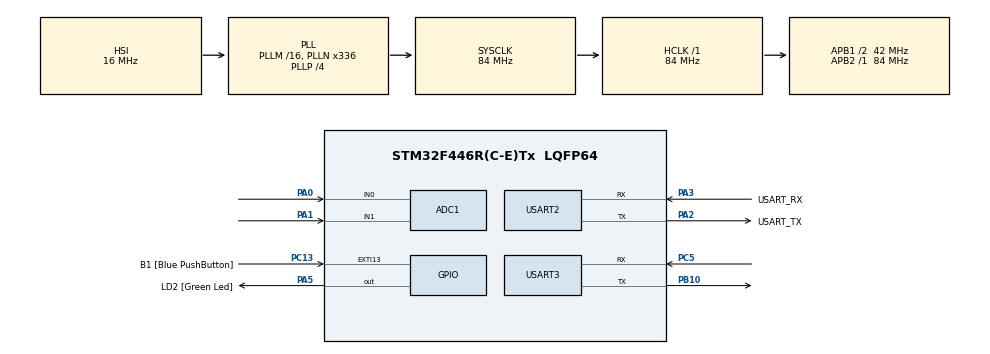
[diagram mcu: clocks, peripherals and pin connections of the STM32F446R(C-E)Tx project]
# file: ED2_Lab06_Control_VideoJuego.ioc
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ADC1.Channel-0\#ChannelRegularConversion=ADC_CHANNEL_0
ADC1.Channel-1\#ChannelRegularConversion=ADC_CHANNEL_1
ADC1.ContinuousConvMode=ENABLE
ADC1.DMAContinuousRequests=ENABLE
ADC1.NbrOfConversion=2
ADC1.NbrOfConversionFlag=1
ADC1.Rank-0\#ChannelRegularConversion=1
ADC1.Rank-1\#ChannelRegularConversion=2
ADC1.SamplingTime-0\#ChannelRegularConversion=ADC_SAMPLETIME_28CYCLES
ADC1.SamplingTime-1\#ChannelRegularConversion=ADC_SAMPLETIME_28CYCLES
ADC1.ScanConvMode=ENABLE
ADC1.master=1
Dma.ADC1.0.Direction=DMA_PERIPH_TO_MEMORY
Dma.ADC1.0.FIFOMode=DMA_FIFOMODE_DISABLE
Dma.ADC1.0.Instance=DMA2_Stream0
Dma.ADC1.0.MemDataAlignment=DMA_MDATAALIGN_HALFWORD
Dma.ADC1.0.MemInc=DMA_MINC_ENABLE
Dma.ADC1.0.Mode=DMA_CIRCULAR
Dma.ADC1.0.PeriphDataAlignment=DMA_PDATAALIGN_HALFWORD
Dma.ADC1.0.PeriphInc=DMA_PINC_DISABLE
Dma.ADC1.0.Priority=DMA_PRIORITY_LOW
Dma.Request0=ADC1
Mcu.Family=STM32F4
Mcu.Name=STM32F446R(C-E)Tx
Mcu.Package=LQFP64
NVIC.DMA2_Stream0_IRQn=true\:0\:0\:false\:false\:true\:false\:true\:true
NVIC.PriorityGroup=NVIC_PRIORITYGROUP_0
NVIC.USART3_IRQn=true\:0\:0\:false\:false\:true\:true\:true\:true
PA0-WKUP.Signal=ADCx_IN0
PA1.Signal=ADCx_IN1
PA13.GPIO_Label=TMS
PA13.Mode=Serial_Wire
PA13.Signal=SYS_JTMS-SWDIO
PA14.GPIO_Label=TCK
PA14.Mode=Serial_Wire
PA14.Signal=SYS_JTCK-SWCLK
PA2.GPIO_Label=USART_TX
PA2.Mode=Asynchronous
PA2.Signal=USART2_TX
PA3.GPIO_Label=USART_RX
PA3.Mode=Asynchronous
PA3.Signal=USART2_RX
PA5.GPIO_Label=LD2 [Green Led]
PA5.Signal=GPIO_Output
PB10.Mode=Asynchronous
PB10.Signal=USART3_TX
PB3.GPIO_Label=SWO
PB3.Signal=SYS_JTDO-SWO
PC13.GPIO_Label=B1 [Blue PushButton]
PC13.GPIO_ModeDefaultEXTI=GPIO_MODE_IT_FALLING
PC13.Signal=GPXTI13
PC14-OSC32_IN.Mode=LSE-External-Oscillator
PC14-OSC32_IN.Signal=RCC_OSC32_IN
PC15-OSC32_OUT.Mode=LSE-External-Oscillator
PC15-OSC32_OUT.Signal=RCC_OSC32_OUT
PC5.Mode=Asynchronous
PC5.Signal=USART3_RX
PH0-OSC_IN.Mode=HSE-External-Oscillator
PH0-OSC_IN.Signal=RCC_OSC_IN
PH1-OSC_OUT.Mode=HSE-External-Oscillator
PH1-OSC_OUT.Signal=RCC_OSC_OUT
ProjectManager.HeapSize=0x200
ProjectManager.StackSize=0x400
ProjectManager.TargetToolchain=STM32CubeIDE
RCC.48MHZClocksFreq_Value=84000000
RCC.AHBFreq_Value=84000000
RCC.APB1CLKDivider=RCC_HCLK_DIV2
RCC.APB1Freq_Value=42000000
RCC.APB1TimFreq_Value=84000000
RCC.APB2Freq_Value=84000000
RCC.APB2TimFreq_Value=84000000
RCC.CortexFreq_Value=84000000
RCC.FLatency-AdvancedSettings=FLASH_LATENCY_2
RCC.HCLKFreq_Value=84000000
RCC.HSE_VALUE=8000000
RCC.HSI_VALUE=16000000
RCC.PLLN=336
RCC.PLLP=RCC_PLLP_DIV4
RCC.SYSCLKFreq_VALUE=84000000
RCC.SYSCLKSource=RCC_SYSCLKSOURCE_PLLCLK
RCC.USBFreq_Value=168000000
RCC.VCOOutputFreq_Value=336000000
SH.ADCx_IN0.0=ADC1_IN0,IN0
SH.ADCx_IN1.0=ADC1_IN1,IN1
USART2.VirtualMode=VM_ASYNC
USART3.VirtualMode=VM_ASYNC
board=NUCLEO-F446RE

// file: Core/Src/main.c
/* USER CODE BEGIN Header */
/**
  ******************************************************************************
  * @file           : main.c
  * @brief          : Main program body
  ******************************************************************************
  * @attention
  *
  * Copyright (c) 2026 STMicroelectronics.
  * All rights reserved.
  *
  * This software is licensed under terms that can be found in the LICENSE file
  * in the root directory of this software component.
  * If no LICENSE file comes with this software, it is provided AS-IS.
  *
  * Laboratorio 6 - Control de Video Juego
  *
  * Autor: David Carranza
  * Carnet: 23979
  *
  ******************************************************************************
  */
/* USER CODE END Header */
#include "main.h"

/* USER CODE BEGIN Includes */
#include <stdio.h>
#include <string.h>
/* USER CODE END Includes */

ADC_HandleTypeDef hadc1;
DMA_HandleTypeDef hdma_adc1;

UART_HandleTypeDef huart2;
UART_HandleTypeDef huart3;

/* USER CODE BEGIN PV */

// Variables para Control 1
uint16_t valorEjeY = 0;
uint16_t valorEjeX = 0;

// Variables para control 2
uint8_t rx_byte;		// Almacena el caracter recibido del arduino
volatile uint8_t rx_data; // Guardar el dato para procesarlo
volatile uint8_t nueva_accion_atmega = 0; // Bandera de interrupción

// Buffer para la terminal UART2
char msg_terminal[80];	// Buffer para enviar mensajes al monitor
/* USER CODE END PV */

void SystemClock_Config(void);
static void MX_GPIO_Init(void);
static void MX_DMA_Init(void);
static void MX_ADC1_Init(void);
static void MX_USART2_UART_Init(void);
static void MX_USART3_UART_Init(void);

int main(void)
{

  /* MCU Configuration--------------------------------------------------------*/

  /* Reset of all peripherals, Initializes the Flash interface and the Systick. */
  HAL_Init();

  /* Configure the system clock */
  SystemClock_Config();

  /* Initialize all configured peripherals */
  MX_GPIO_Init();
  MX_DMA_Init();
  MX_ADC1_Init();
  MX_USART2_UART_Init();
  MX_USART3_UART_Init();
  /* USER CODE BEGIN 2 */

  // Iniciar el ADC en modo DMA para uso de los 2 canales
//  HAL_ADC_Start_DMA(&hadc1, (uint32_t*)adc_buffer, 2);

  // Iniciar la recepción de datos por interrupción del USART3
  HAL_UART_Receive_IT(&huart3, &rx_byte, 1);

  /* USER CODE END 2 */

  /* Infinite loop */
  /* USER CODE BEGIN WHILE */
  while (1)
  {
	  // Lógica Control 2
	  if (nueva_accion_atmega == 1)
	  {
		nueva_accion_atmega = 0; // Bajar bandera

		// Formato control
		switch(rx_data)
		{
		case 'U': sprintf(msg_terminal, "Control 2 (ATmega): \"Arriba\"\r\n");
		break;
		case 'D': sprintf(msg_terminal, "Control 2 (ATmega): \"Abajo\"\r\n");
		break;
		case 'L': sprintf(msg_terminal, "Control 2 (ATmega): \"Izquierda\"\r\n");
		break;
		case 'R': sprintf(msg_terminal, "Control 2 (ATmega): \"Derecha\"\r\n");
		break;
		case 'A': sprintf(msg_terminal, "Control 2 (ATmega): \"A\"\r\n");
		break;
		case 'B': sprintf(msg_terminal, "Control 2 (ATmega): \"B\"\r\n");
		break;
		default: msg_terminal[0] = '\0';
		break;
		}

		if (msg_terminal[0] != '\0')
		{
			HAL_UART_Transmit(&huart2, (uint8_t*)msg_terminal, strlen(msg_terminal), 100);
		}

	  }

	  // Lógica Control 1
	  // 1. Iniciar el ADC manualmente
	      HAL_ADC_Start(&hadc1);

	      // 2. Esperar a que termine la conversión del Eje Y (Rank 1)
	      if (HAL_ADC_PollForConversion(&hadc1, 10) == HAL_OK) {
	          valorEjeY = HAL_ADC_GetValue(&hadc1);
	      }

	      // 3. Esperar a que termine la conversión del Eje X (Rank 2)
	      if (HAL_ADC_PollForConversion(&hadc1, 10) == HAL_OK) {
	          valorEjeX = HAL_ADC_GetValue(&hadc1);
	      }

	      // 4. Detener el ADC
	      HAL_ADC_Stop(&hadc1);

	      // --- Lógica de Impresión (Igual que antes pero con variables directas) ---
	      if (valorEjeY > 2500) {
	          sprintf(msg_terminal, "Control 1: \"Arriba\"\r\n");
		      HAL_UART_Transmit(&huart2, (uint8_t*)msg_terminal, strlen(msg_terminal), 100);
	      } else if (valorEjeY < 1000) {
	          sprintf(msg_terminal, "Control 1: \"Abajo\"\r\n");
		      HAL_UART_Transmit(&huart2, (uint8_t*)msg_terminal, strlen(msg_terminal), 100);
	      } else if (valorEjeX > 2500) {
	          sprintf(msg_terminal, "Control 1: \"Derecha\"\r\n");
		      HAL_UART_Transmit(&huart2, (uint8_t*)msg_terminal, strlen(msg_terminal), 100);
	      } else if (valorEjeX < 1000) {
	          sprintf(msg_terminal, "Control 1: \"Izquierda\"\r\n");
		      HAL_UART_Transmit(&huart2, (uint8_t*)msg_terminal, strlen(msg_terminal), 100);
	      } else {
	          sprintf(msg_terminal, "Joystick en reposo\r\n");
	      }

	      HAL_UART_Transmit(&huart2, (uint8_t*)msg_terminal, strlen(msg_terminal), 100);
	      HAL_Delay(150);

    /* USER CODE END WHILE */

  }
}

void SystemClock_Config(void)
{
  RCC_OscInitTypeDef RCC_OscInitStruct = {0};
  RCC_ClkInitTypeDef RCC_ClkInitStruct = {0};

  /** Configure the main internal regulator output voltage
  */
  __HAL_RCC_PWR_CLK_ENABLE();
  __HAL_PWR_VOLTAGESCALING_CONFIG(PWR_REGULATOR_VOLTAGE_SCALE3);

  /** Initializes the RCC Oscillators according to the specified parameters
  * in the RCC_OscInitTypeDef structure.
  */
  RCC_OscInitStruct.OscillatorType = RCC_OSCILLATORTYPE_HSI;
  RCC_OscInitStruct.HSIState = RCC_HSI_ON;
  RCC_OscInitStruct.HSICalibrationValue = RCC_HSICALIBRATION_DEFAULT;
  RCC_OscInitStruct.PLL.PLLState = RCC_PLL_ON;
  RCC_OscInitStruct.PLL.PLLSource = RCC_PLLSOURCE_HSI;
  RCC_OscInitStruct.PLL.PLLM = 16;
  RCC_OscInitStruct.PLL.PLLN = 336;
  RCC_OscInitStruct.PLL.PLLP = RCC_PLLP_DIV4;
  RCC_OscInitStruct.PLL.PLLQ = 2;
  RCC_OscInitStruct.PLL.PLLR = 2;
  if (HAL_RCC_OscConfig(&RCC_OscInitStruct) != HAL_OK)
  {
    Error_Handler();
  }

  /** Initializes the CPU, AHB and APB buses clocks
  */
  RCC_ClkInitStruct.ClockType = RCC_CLOCKTYPE_HCLK|RCC_CLOCKTYPE_SYSCLK
                              |RCC_CLOCKTYPE_PCLK1|RCC_CLOCKTYPE_PCLK2;
  RCC_ClkInitStruct.SYSCLKSource = RCC_SYSCLKSOURCE_PLLCLK;
  RCC_ClkInitStruct.AHBCLKDivider = RCC_SYSCLK_DIV1;
  RCC_ClkInitStruct.APB1CLKDivider = RCC_HCLK_DIV2;
  RCC_ClkInitStruct.APB2CLKDivider = RCC_HCLK_DIV1;

  if (HAL_RCC_ClockConfig(&RCC_ClkInitStruct, FLASH_LATENCY_2) != HAL_OK)
  {
    Error_Handler();
  }
}

static void MX_ADC1_Init(void)
{

  ADC_ChannelConfTypeDef sConfig = {0};

  /** Configure the global features of the ADC (Clock, Resolution, Data Alignment and number of conversion)
  */
  hadc1.Instance = ADC1;
  hadc1.Init.ClockPrescaler = ADC_CLOCK_SYNC_PCLK_DIV4;
  hadc1.Init.Resolution = ADC_RESOLUTION_12B;
  hadc1.Init.ScanConvMode = ENABLE;
  hadc1.Init.ContinuousConvMode = ENABLE;
  hadc1.Init.DiscontinuousConvMode = DISABLE;
  hadc1.Init.ExternalTrigConvEdge = ADC_EXTERNALTRIGCONVEDGE_NONE;
  hadc1.Init.ExternalTrigConv = ADC_SOFTWARE_START;
  hadc1.Init.DataAlign = ADC_DATAALIGN_RIGHT;
  hadc1.Init.NbrOfConversion = 2;
  hadc1.Init.DMAContinuousRequests = ENABLE;
  hadc1.Init.EOCSelection = ADC_EOC_SINGLE_CONV;
  if (HAL_ADC_Init(&hadc1) != HAL_OK)
  {
    Error_Handler();
  }

  /** Configure for the selected ADC regular channel its corresponding rank in the sequencer and its sample time.
  */
  sConfig.Channel = ADC_CHANNEL_0;
  sConfig.Rank = 1;
  sConfig.SamplingTime = ADC_SAMPLETIME_28CYCLES;
  if (HAL_ADC_ConfigChannel(&hadc1, &sConfig) != HAL_OK)
  {
    Error_Handler();
  }

  /** Configure for the selected ADC regular channel its corresponding rank in the sequencer and its sample time.
  */
  sConfig.Channel = ADC_CHANNEL_1;
  sConfig.Rank = 2;
  if (HAL_ADC_ConfigChannel(&hadc1, &sConfig) != HAL_OK)
  {
    Error_Handler();
  }

}

static void MX_USART2_UART_Init(void)
{

  huart2.Instance = USART2;
  huart2.Init.BaudRate = 115200;
  huart2.Init.WordLength = UART_WORDLENGTH_8B;
  huart2.Init.StopBits = UART_STOPBITS_1;
  huart2.Init.Parity = UART_PARITY_NONE;
  huart2.Init.Mode = UART_MODE_TX_RX;
  huart2.Init.HwFlowCtl = UART_HWCONTROL_NONE;
  huart2.Init.OverSampling = UART_OVERSAMPLING_16;
  if (HAL_UART_Init(&huart2) != HAL_OK)
  {
    Error_Handler();
  }

}

static void MX_USART3_UART_Init(void)
{

  huart3.Instance = USART3;
  huart3.Init.BaudRate = 115200;
  huart3.Init.WordLength = UART_WORDLENGTH_8B;
  huart3.Init.StopBits = UART_STOPBITS_1;
  huart3.Init.Parity = UART_PARITY_NONE;
  huart3.Init.Mode = UART_MODE_TX_RX;
  huart3.Init.HwFlowCtl = UART_HWCONTROL_NONE;
  huart3.Init.OverSampling = UART_OVERSAMPLING_16;
  if (HAL_UART_Init(&huart3) != HAL_OK)
  {
    Error_Handler();
  }

}

static void MX_DMA_Init(void)
{

  /* DMA controller clock enable */
  __HAL_RCC_DMA2_CLK_ENABLE();

  /* DMA interrupt init */
  /* DMA2_Stream0_IRQn interrupt configuration */
  HAL_NVIC_SetPriority(DMA2_Stream0_IRQn, 0, 0);
  HAL_NVIC_EnableIRQ(DMA2_Stream0_IRQn);

}

static void MX_GPIO_Init(void)
{
  GPIO_InitTypeDef GPIO_InitStruct = {0};

  /* GPIO Ports Clock Enable */
  __HAL_RCC_GPIOC_CLK_ENABLE();
  __HAL_RCC_GPIOH_CLK_ENABLE();
  __HAL_RCC_GPIOA_CLK_ENABLE();
  __HAL_RCC_GPIOB_CLK_ENABLE();

  /*Configure GPIO pin Output Level */
  HAL_GPIO_WritePin(LD2_GPIO_Port, LD2_Pin, GPIO_PIN_RESET);

  /*Configure GPIO pin : B1_Pin */
  GPIO_InitStruct.Pin = B1_Pin;
  GPIO_InitStruct.Mode = GPIO_MODE_IT_FALLING;
  GPIO_InitStruct.Pull = GPIO_NOPULL;
  HAL_GPIO_Init(B1_GPIO_Port, &GPIO_InitStruct);

  /*Configure GPIO pin : LD2_Pin */
  GPIO_InitStruct.Pin = LD2_Pin;
  GPIO_InitStruct.Mode = GPIO_MODE_OUTPUT_PP;
  GPIO_InitStruct.Pull = GPIO_NOPULL;
  GPIO_InitStruct.Speed = GPIO_SPEED_FREQ_LOW;
  HAL_GPIO_Init(LD2_GPIO_Port, &GPIO_InitStruct);

}

/* USER CODE BEGIN 4 */

void HAL_UART_RxCpltCallback(UART_HandleTypeDef *huart)
{
	if (huart -> Instance == USART3) // Si el dato viende del arduino
	{
		rx_data = rx_byte;			// Guardamos el caracter
		nueva_accion_atmega = 1; 	// Se avisa al while(1)

		// Rehacer interrupción
		HAL_UART_Receive_IT(&huart3, &rx_byte, 1);
	}
}

/* USER CODE END 4 */

void Error_Handler(void)
{
  __disable_irq();
  while (1)
  {
  }
}
